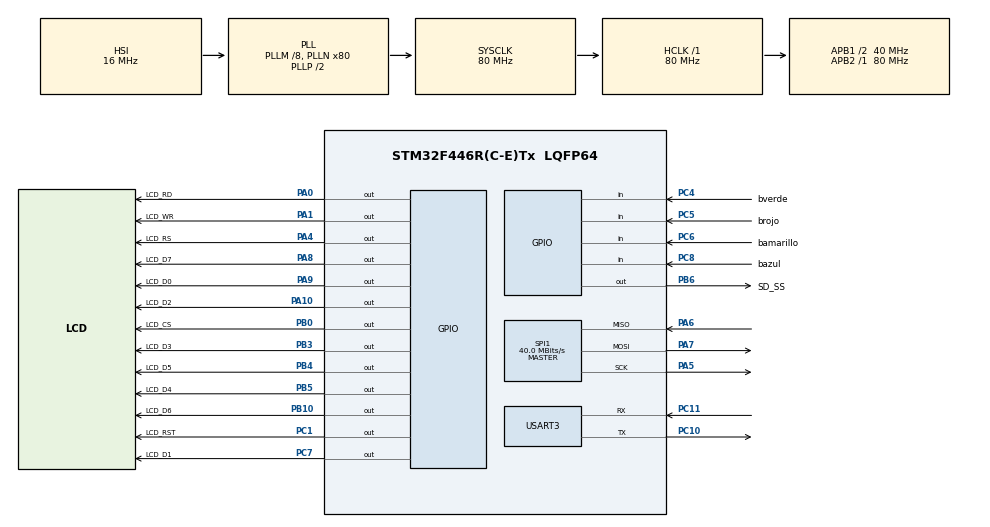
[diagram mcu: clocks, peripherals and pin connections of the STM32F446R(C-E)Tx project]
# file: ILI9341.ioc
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Mcu.Family=STM32F4
Mcu.Name=STM32F446R(C-E)Tx
Mcu.Package=LQFP64
NVIC.PriorityGroup=NVIC_PRIORITYGROUP_4
NVIC.USART3_IRQn=true\:0\:0\:false\:false\:true\:true\:true\:true
PA0-WKUP.GPIO_Label=LCD_RD
PA0-WKUP.GPIO_Speed=GPIO_SPEED_FREQ_HIGH
PA0-WKUP.Signal=GPIO_Output
PA1.GPIO_Label=LCD_WR
PA1.GPIO_Speed=GPIO_SPEED_FREQ_HIGH
PA1.Signal=GPIO_Output
PA10.GPIO_Label=LCD_D2
PA10.GPIO_Speed=GPIO_SPEED_FREQ_HIGH
PA10.Signal=GPIO_Output
PA13.Mode=Serial_Wire
PA13.Signal=SYS_JTMS-SWDIO
PA14.Mode=Serial_Wire
PA14.Signal=SYS_JTCK-SWCLK
PA4.GPIO_Label=LCD_RS
PA4.GPIO_Speed=GPIO_SPEED_FREQ_HIGH
PA4.Signal=GPIO_Output
PA5.Mode=Full_Duplex_Master
PA5.Signal=SPI1_SCK
PA6.Mode=Full_Duplex_Master
PA6.Signal=SPI1_MISO
PA7.Mode=Full_Duplex_Master
PA7.Signal=SPI1_MOSI
PA8.GPIO_Label=LCD_D7
PA8.GPIO_Speed=GPIO_SPEED_FREQ_HIGH
PA8.Signal=GPIO_Output
PA9.GPIO_Label=LCD_D0
PA9.GPIO_Speed=GPIO_SPEED_FREQ_HIGH
PA9.Signal=GPIO_Output
PB0.GPIO_Label=LCD_CS
PB0.GPIO_Speed=GPIO_SPEED_FREQ_HIGH
PB0.Signal=GPIO_Output
PB10.GPIO_Label=LCD_D6
PB10.GPIO_Speed=GPIO_SPEED_FREQ_HIGH
PB10.Signal=GPIO_Output
PB3.GPIO_Label=LCD_D3
PB3.GPIO_Speed=GPIO_SPEED_FREQ_HIGH
PB3.Signal=GPIO_Output
PB4.GPIO_Label=LCD_D5
PB4.GPIO_Speed=GPIO_SPEED_FREQ_HIGH
PB4.Signal=GPIO_Output
PB5.GPIO_Label=LCD_D4
PB5.GPIO_Speed=GPIO_SPEED_FREQ_HIGH
PB5.Signal=GPIO_Output
PB6.GPIO_Label=SD_SS
PB6.GPIO_Speed=GPIO_SPEED_FREQ_HIGH
PB6.Signal=GPIO_Output
PC1.GPIO_Label=LCD_RST
PC1.GPIO_Speed=GPIO_SPEED_FREQ_HIGH
PC1.Signal=GPIO_Output
PC10.Mode=Asynchronous
PC10.Signal=USART3_TX
PC11.Mode=Asynchronous
PC11.Signal=USART3_RX
PC4.GPIO_Label=bverde
PC4.GPIO_PuPd=GPIO_PULLUP
PC4.Signal=GPIO_Input
PC5.GPIO_Label=brojo
PC5.GPIO_PuPd=GPIO_PULLUP
PC5.Signal=GPIO_Input
PC6.GPIO_Label=bamarillo
PC6.GPIO_PuPd=GPIO_PULLUP
PC6.Signal=GPIO_Input
PC7.GPIO_Label=LCD_D1
PC7.GPIO_Speed=GPIO_SPEED_FREQ_HIGH
PC7.Signal=GPIO_Output
PC8.GPIO_Label=bazul
PC8.GPIO_PuPd=GPIO_PULLUP
PC8.Signal=GPIO_Input
PH0-OSC_IN.Mode=HSE-External-Oscillator
PH0-OSC_IN.Signal=RCC_OSC_IN
PH1-OSC_OUT.Mode=HSE-External-Oscillator
PH1-OSC_OUT.Signal=RCC_OSC_OUT
ProjectManager.HeapSize=0x200
ProjectManager.StackSize=0x400
ProjectManager.TargetToolchain=STM32CubeIDE
RCC.AHBFreq_Value=80000000
RCC.APB1CLKDivider=RCC_HCLK_DIV2
RCC.APB1Freq_Value=40000000
RCC.APB1TimFreq_Value=80000000
RCC.APB2Freq_Value=80000000
RCC.APB2TimFreq_Value=80000000
RCC.CortexFreq_Value=80000000
RCC.HCLKFreq_Value=80000000
RCC.PLLM=8
RCC.PLLN=80
RCC.SYSCLKFreq_VALUE=80000000
RCC.SYSCLKSource=RCC_SYSCLKSOURCE_PLLCLK
RCC.USBFreq_Value=80000000
RCC.VCOOutputFreq_Value=160000000
SPI1.CalculateBaudRate=40.0 MBits/s
SPI1.Direction=SPI_DIRECTION_2LINES
SPI1.Mode=SPI_MODE_MASTER
SPI1.VirtualType=VM_MASTER
USART3.VirtualMode=VM_ASYNC
board=custom

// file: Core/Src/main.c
/* USER CODE BEGIN Header */
/**
 ******************************************************************************
 * @file           : main.c
 * @brief          : Main program body
 ******************************************************************************
 * @attention
 *
 * Copyright (c) 2024 STMicroelectronics.
 * All rights reserved.
 *
 * This software is licensed under terms that can be found in the LICENSE file
 * in the root directory of this software component.
 * If no LICENSE file comes with this software, it is provided AS-IS.
 *
 ******************************************************************************
 */
/* USER CODE END Header */
#include "main.h"

/* USER CODE BEGIN Includes */
#include "ili9341.h"
#include "Bitmaps.h"
#include "gh_sprites.h"   // [GH] sprites de botones y notas (en RAM)
#include "gh_notas.h"     // [GH] dibujo de botones y movimiento de notas

// Para el uart3
#include <stdio.h>
#include <string.h>
#include <stdbool.h>      // Necesario para usar 'bool'
/* USER CODE END Includes */

/* USER CODE BEGIN PD */
/* [GH] Parámetros de la demo de notas cayendo */
#define GH_MAX_NOTAS        8
#define GH_PERIODO_CUADRO   16   /* ms mínimos por cuadro (~60 fps máx.) */
#define GH_VELOCIDAD        4    /* px que baja cada nota por cuadro */
#define GH_CUADROS_ENTRE_NOTAS 22 /* cuadros entre notas nuevas (22*4 = 88 px de separación) */

//Comentario de prueba para el GIt

// Este define lo tengo que cambiar o eliminar ya que la presion sera dictada por el tiempo del boton

//#define GH_TIEMPO_PRESION   120  /* ms que el botón queda encendido al llegar la nota */

/* USER CODE END PD */

SPI_HandleTypeDef hspi1;

UART_HandleTypeDef huart3;

/* USER CODE BEGIN PV */

volatile uint8_t rx_byte;
char rx_buffer[30];
volatile uint8_t rx_index = 0;
volatile uint8_t comando_listo = 0;

/* Botones virtuales del Jugador 1 controlados desde el ESP32 */
volatile uint8_t p1_btn_verde = 0;    // Asignado al botón A
volatile uint8_t p1_btn_rojo = 0;     // Asignado al botón B
volatile uint8_t p1_btn_amarillo = 0; // Asignado al botón X
volatile uint8_t p1_btn_azul = 0;     // Asignado al botón Y

extern uint16_t fondo[];

/* [GH] Estado de la demo */
static GH_Nota notas[GH_MAX_NOTAS];

/* Patrón de la demo: {carril, largo de cola en px (0 = nota normal)} */
static const struct { uint8_t carril; int16_t largo; } patron[] = {
	{0, 0}, {1, 0}, {2, 120}, {3, 0}, {1, 0}, {0, 80}, {3, 0}, {2, 0}, {1, 160}, {3, 0}, {0, 0}, {3, 100},
};

/* USER CODE END PV */

void SystemClock_Config(void);
static void MX_GPIO_Init(void);
static void MX_SPI1_Init(void);
static void MX_USART3_UART_Init(void);

/* USER CODE BEGIN 0 */
// Lógica de traducción de comandos UART a Botones Virtuales
void ProcesarComandoESP32(char* comando) {
    bool presionado = true;

    /* Detectar si se soltó el botón */
    if (strstr(comando, "_off") != NULL) {
        presionado = false;
    }

    /* Asignar a variables si el comando es para el Jugador 1 (p1_) */
    if (strncmp(comando, "p1_", 3) == 0) {
        if (strstr(comando, "A") != NULL && !strstr(comando, "Down")) {
            p1_btn_verde = presionado;
        }
        else if (strstr(comando, "B") != NULL) {
            p1_btn_rojo = presionado;
        }
        else if (strstr(comando, "X") != NULL) {
            p1_btn_amarillo = presionado;
        }
        else if (strstr(comando, "Y") != NULL) {
            p1_btn_azul = presionado;
        }
    }
}

/* [GH] Un paso de la demo: genera notas y lee botones VIRTUALES */
static void GH_DemoPaso(void) {
	static uint32_t tCuadro = 0;
	static uint16_t cuadrosDesdeNota = 0;
	static uint16_t cuadrosEspera = 0;
	static uint8_t iPatron = 0;

	static uint8_t estadoVisualBoton[GH_NUM_CARRILES] = {GH_BTN_REPOSO, GH_BTN_REPOSO, GH_BTN_REPOSO, GH_BTN_REPOSO};
	static uint8_t estadoVisualCola[GH_NUM_CARRILES]  = {0, 0, 0, 0};

	uint32_t ahora = HAL_GetTick();
	if (ahora - tCuadro < GH_PERIODO_CUADRO) return;
	tCuadro = ahora;

	if (++cuadrosDesdeNota >= cuadrosEspera) {
		for (int i = 0; i < GH_MAX_NOTAS; i++) {
			if (!notas[i].activa) {
				GH_NotaLargaIniciar(&notas[i], patron[iPatron].carril, patron[iPatron].largo);
				cuadrosEspera = GH_CUADROS_ENTRE_NOTAS + patron[iPatron].largo / GH_VELOCIDAD;
				iPatron = (iPatron + 1) % (sizeof(patron) / sizeof(patron[0]));
				cuadrosDesdeNota = 0;
				break;
			}
		}
	}

	/* LEER BOTONES VIRTUALES DEL ESP32 EN LUGAR DE LOS PINES FÍSICOS */
	uint8_t btnVirtuales[GH_NUM_CARRILES];
	btnVirtuales[0] = p1_btn_verde;
	btnVirtuales[1] = p1_btn_rojo;
	btnVirtuales[2] = p1_btn_amarillo;
	btnVirtuales[3] = p1_btn_azul;

	GH_Nota* colaActiva[GH_NUM_CARRILES] = {NULL, NULL, NULL, NULL};

	for (int i = 0; i < GH_MAX_NOTAS; i++) {
		if (!notas[i].activa) continue;

		uint8_t c = notas[i].carril;
		GH_NotaMover(&notas[i], GH_VELOCIDAD);

		/* LÓGICA DE ACIERTO */
		if (notas[i].y >= GH_BOTON_Y - 15 && notas[i].y <= GH_BOTON_Y + 20) {
			if (btnVirtuales[c]) {
				if (notas[i].largo == 0) {
					notas[i].activa = 0;
					GH_RestaurarFondo(GH_CARRIL_X(c), notas[i].y - GH_SPR_H, GH_SPR_W, GH_SPR_H * 2);
					continue;
				} else if (!notas[i].atrapada) {
					int16_t old_y = notas[i].y;
					notas[i].atrapada = 1;
					notas[i].y = GH_BOTON_Y;
					notas[i].largo += (GH_BOTON_Y - old_y);
					if (notas[i].largo < 0) notas[i].largo = 0;
					notas[i].cabezaLlego = 1;
					GH_RestaurarFondo(GH_CARRIL_X(c), old_y - GH_SPR_H, GH_SPR_W, GH_SPR_H * 2);
				}
			}
		}

		/* Sostenimiento de nota larga */
		if (notas[i].activa && notas[i].largo > 0 && notas[i].cabezaLlego) {
			if (notas[i].atrapada) {
				if (btnVirtuales[c]) {
					colaActiva[c] = &notas[i];
				} else {
					notas[i].atrapada = 0;
				}
			} else {
				if (notas[i].y >= GH_BOTON_Y && notas[i].y <= GH_BOTON_Y + 20) {
					if (btnVirtuales[c]) {
						int16_t old_y = notas[i].y;
						notas[i].atrapada = 1;
						notas[i].y = GH_BOTON_Y;
						notas[i].largo += (GH_BOTON_Y - old_y);
						if (notas[i].largo < 0) notas[i].largo = 0;
						colaActiva[c] = &notas[i];
						GH_RestaurarFondo(GH_CARRIL_X(c), old_y - GH_SPR_H, GH_SPR_W, GH_SPR_H * 2);
					}
				}
			}
		}
	}

	/* DIBUJAR EN PANTALLA */
	for (uint8_t c = 0; c < GH_NUM_CARRILES; c++) {
		uint8_t nuevoEstadoBoton = GH_BTN_REPOSO;
		uint8_t nuevoEstadoCola = 0;

		if (btnVirtuales[c]) {
			if (colaActiva[c] != NULL) {
				nuevoEstadoBoton = GH_BTN_SOSTENIDO;
				nuevoEstadoCola = 1;
			} else {
				nuevoEstadoBoton = GH_BTN_PRESIONADO;
			}
		}

		if (nuevoEstadoBoton != estadoVisualBoton[c]) {
			GH_DibujarBoton(c, nuevoEstadoBoton);
			estadoVisualBoton[c] = nuevoEstadoBoton;
		}

		if (colaActiva[c] != NULL) {
			if (nuevoEstadoCola != estadoVisualCola[c]) {
				GH_ColaRedibujar(colaActiva[c], nuevoEstadoCola);
				estadoVisualCola[c] = nuevoEstadoCola;
			}
		} else {
			estadoVisualCola[c] = 0;
		}
	}
}
/* USER CODE END 0 */

int main(void)
{
	HAL_Init();
	  SystemClock_Config();
	  MX_GPIO_Init();
	  MX_USART3_UART_Init();

  /* MCU Configuration--------------------------------------------------------*/

  /* Reset of all peripherals, Initializes the Flash interface and the Systick. */
  HAL_Init();

  /* Configure the system clock */
  SystemClock_Config();

  /* Initialize all configured peripherals */
  MX_GPIO_Init();
  MX_SPI1_Init();
  MX_USART3_UART_Init();
  /* USER CODE BEGIN 2 */

  // Iniciar la escucha del ESP32 por interrupción
    HAL_UART_Receive_IT(&huart3, (uint8_t*)&rx_byte, 1);

	LCD_Init();

	LCD_Clear(0x00);
	//FillRect(unsigned int x, unsigned int y, unsigned int w, unsigned int h, unsigned int c);
	//FillRect(0, 0, 319, 239, 0x0DFE);
	//FillRect(0, 0, 319, 239, 0x4c9d);

//	FillRect(50, 60, 20, 20, 0xF800);
//
//	FillRect(70, 60, 20, 20, 0x07E0);
//
//	FillRect(90, 60, 20, 20, 0x001F);

	//LCD_Bitmap(unsigned int x, unsigned int y, unsigned int width, unsigned int height, unsigned char bitmap[]);
	//LCD_Bitmap(100, 100, 49, 36, dkong);
	//LCD_Bitmap(100, 100, 24, 30, sonic);

	// [GH] Demo anterior en horizontal (320x240), desactivada al pasar a vertical:
	//LCD_Bitmap(0, 0, 320, 240, fondoPinguin);
	//LCD_BitmapTransparent(100, 100, 49, 36, dkong, 0x4b7e);
	//LCD_BitmapTransparent(50, 60,32,32,megaman,0x03ba);

	// [GH] Fondo negro (LCD_Clear(0x00) de arriba) + fila de botones en reposo
	GH_DibujarBotones();
	//LCD_Bitmap(132, 100, 32, 32, megaman);

//	FillRect(0, 0, 319, 206, 0x055b);
//	LCD_Print("Hola Mundo", 20, 150, 2, 0x001F, 0x055b);
//
//
//for (int x = 0; x < 319; x++) {
//			LCD_Bitmap(x, 116, 15, 15, tile);
//			LCD_Bitmap(x, 68, 15, 15, tile);
//			LCD_Bitmap(x, 207, 15, 15, tile);
//			LCD_Bitmap(x, 223, 15, 15, tile);
//			x += 14;
//		}

	//LCD_BitmapTransparent(100, 116-36, 49, 36, dkong, 0x4b7e);
	//LCD_Sprite(int x, int y, int width, int height, unsigned char bitmap[], int columns, int index, char flip, char offset);

	//LCD_Sprite(100, 116-29, 42, 29, link, 4, 0, 0, 0);

	//  LCD_Print("Hola Mundo", 20, 100, 1, 0x001F, 0xCAB9);

  /* USER CODE END 2 */

  /* Infinite loop */
  /* USER CODE BEGIN WHILE */
	while (1) {

		if (comando_listo) {
		        comando_listo = 0;
		        ProcesarComandoESP32(rx_buffer);
		    }

		GH_DemoPaso();   // [GH] notas cayendo

    /* USER CODE END WHILE */

    /* USER CODE BEGIN 3 */

//
//				for (int x = 0; x < 319-42; x++) {
//					int anim = (x/10)%4;
//					// anim 0 1 2 3
//					LCD_Sprite(x, 116-29, 42, 29, link, 4, anim, 0, 0);
//					//V_line( x -1, 100, 50, 0x0DFE);
//					HAL_Delay(15);
//
//				}
//				for (int var = 319-24; var > 0;  var--) {
//					int anim = (var / 10) % 4;
//					LCD_Sprite(var, 100, 24, 30, sonics, 4, anim, 1, 0);
//					V_line(var + 24, 100, 30, 0x0DFE);
//					HAL_Delay(15);
//				}
//
//		for (int x = 0; x < 319-24; x++) {
//			int anim = (x/10)%4;
//			// anim 0 1 2 3
//			LCD_Sprite(x, 100, 24, 30, sonics, 4, anim, 0, 0);
//			V_line( x -1, 100, 30, 0x0DFE);
//			HAL_Delay(15);
//
//		}
//		for (int var = 319-24; var > 0;  var--) {
//			int anim = (var / 10) % 4;
//			LCD_Sprite(var, 100, 24, 30, sonics, 4, anim, 1, 0);
//			V_line(var + 24, 100, 30, 0x0DFE);
//			HAL_Delay(15);
//		}

//		for (int var = 0; var < 319-26;  var++) {
//			 int anim = (var / 5) % 4;
//			LCD_Sprite(var,100,26,16,link,4,anim,0,0);
//			V_line( var -1, 100, 16, 0x4d9e);
//			 HAL_Delay(15);
//		}
//		for (int var = 319-26; var > 0;  var--) {
//					 int anim = (var / 5) % 4;
//					LCD_Sprite(var,100,26,16,link,4,anim,1,0);
//					V_line( var +27, 100, 16, 0x4d9e);
//					 HAL_Delay(15);
//				}
//
//		for (int x = 0; x < 320 - 16; x++) {
//		    int anim2 = (x / 10) % 4;
//		    LCD_Sprite(x,100,16,16,kirbys,4,anim2,0,0);
//		    V_line( x -1, 100, 16, 0x74DA);
//		    HAL_Delay(15);
//		  }
//		  for (int x = 320-16; x > 0; x--) {
//		    int anim2 = (x / 10) % 4;
//		    LCD_Sprite(x,100,16,16,kirbys,4,anim2,1,0);
//		    V_line( x +16, 100, 16, 0x74DA);
//		    HAL_Delay(15);
//		  }

	}
  /* USER CODE END 3 */
}

void SystemClock_Config(void)
{
  RCC_OscInitTypeDef RCC_OscInitStruct = {0};
  RCC_ClkInitTypeDef RCC_ClkInitStruct = {0};

  /** Configure the main internal regulator output voltage
  */
  __HAL_RCC_PWR_CLK_ENABLE();
  __HAL_PWR_VOLTAGESCALING_CONFIG(PWR_REGULATOR_VOLTAGE_SCALE3);

  /** Initializes the RCC Oscillators according to the specified parameters
  * in the RCC_OscInitTypeDef structure.
  */
  RCC_OscInitStruct.OscillatorType = RCC_OSCILLATORTYPE_HSI;
  RCC_OscInitStruct.HSIState = RCC_HSI_ON;
  RCC_OscInitStruct.HSICalibrationValue = RCC_HSICALIBRATION_DEFAULT;
  RCC_OscInitStruct.PLL.PLLState = RCC_PLL_ON;
  RCC_OscInitStruct.PLL.PLLSource = RCC_PLLSOURCE_HSI;
  RCC_OscInitStruct.PLL.PLLM = 8;
  RCC_OscInitStruct.PLL.PLLN = 80;
  RCC_OscInitStruct.PLL.PLLP = RCC_PLLP_DIV2;
  RCC_OscInitStruct.PLL.PLLQ = 2;
  RCC_OscInitStruct.PLL.PLLR = 2;
  if (HAL_RCC_OscConfig(&RCC_OscInitStruct) != HAL_OK)
  {
    Error_Handler();
  }

  /** Initializes the CPU, AHB and APB buses clocks
  */
  RCC_ClkInitStruct.ClockType = RCC_CLOCKTYPE_HCLK|RCC_CLOCKTYPE_SYSCLK
                              |RCC_CLOCKTYPE_PCLK1|RCC_CLOCKTYPE_PCLK2;
  RCC_ClkInitStruct.SYSCLKSource = RCC_SYSCLKSOURCE_PLLCLK;
  RCC_ClkInitStruct.AHBCLKDivider = RCC_SYSCLK_DIV1;
  RCC_ClkInitStruct.APB1CLKDivider = RCC_HCLK_DIV2;
  RCC_ClkInitStruct.APB2CLKDivider = RCC_HCLK_DIV1;

  if (HAL_RCC_ClockConfig(&RCC_ClkInitStruct, FLASH_LATENCY_2) != HAL_OK)
  {
    Error_Handler();
  }
}

static void MX_SPI1_Init(void)
{

  /* SPI1 parameter configuration*/
  hspi1.Instance = SPI1;
  hspi1.Init.Mode = SPI_MODE_MASTER;
  hspi1.Init.Direction = SPI_DIRECTION_2LINES;
  hspi1.Init.DataSize = SPI_DATASIZE_8BIT;
  hspi1.Init.CLKPolarity = SPI_POLARITY_LOW;
  hspi1.Init.CLKPhase = SPI_PHASE_1EDGE;
  hspi1.Init.NSS = SPI_NSS_SOFT;
  hspi1.Init.BaudRatePrescaler = SPI_BAUDRATEPRESCALER_2;
  hspi1.Init.FirstBit = SPI_FIRSTBIT_MSB;
  hspi1.Init.TIMode = SPI_TIMODE_DISABLE;
  hspi1.Init.CRCCalculation = SPI_CRCCALCULATION_DISABLE;
  hspi1.Init.CRCPolynomial = 10;
  if (HAL_SPI_Init(&hspi1) != HAL_OK)
  {
    Error_Handler();
  }

}

static void MX_USART3_UART_Init(void)
{

  huart3.Instance = USART3;
  huart3.Init.BaudRate = 115200;
  huart3.Init.WordLength = UART_WORDLENGTH_8B;
  huart3.Init.StopBits = UART_STOPBITS_1;
  huart3.Init.Parity = UART_PARITY_NONE;
  huart3.Init.Mode = UART_MODE_TX_RX;
  huart3.Init.HwFlowCtl = UART_HWCONTROL_NONE;
  huart3.Init.OverSampling = UART_OVERSAMPLING_16;
  if (HAL_UART_Init(&huart3) != HAL_OK)
  {
    Error_Handler();
  }

}

static void MX_GPIO_Init(void)
{
  GPIO_InitTypeDef GPIO_InitStruct = {0};

  /* GPIO Ports Clock Enable */
  __HAL_RCC_GPIOH_CLK_ENABLE();
  __HAL_RCC_GPIOC_CLK_ENABLE();
  __HAL_RCC_GPIOA_CLK_ENABLE();
  __HAL_RCC_GPIOB_CLK_ENABLE();

  /*Configure GPIO pin Output Level */
  HAL_GPIO_WritePin(GPIOC, LCD_RST_Pin|LCD_D1_Pin, GPIO_PIN_RESET);

  /*Configure GPIO pin Output Level */
  HAL_GPIO_WritePin(GPIOA, LCD_RD_Pin|LCD_WR_Pin|LCD_RS_Pin|LCD_D7_Pin
                          |LCD_D0_Pin|LCD_D2_Pin, GPIO_PIN_RESET);

  /*Configure GPIO pin Output Level */
  HAL_GPIO_WritePin(GPIOB, LCD_CS_Pin|LCD_D6_Pin|LCD_D3_Pin|LCD_D5_Pin
                          |LCD_D4_Pin|SD_SS_Pin, GPIO_PIN_RESET);

  /*Configure GPIO pins : LCD_RST_Pin LCD_D1_Pin */
  GPIO_InitStruct.Pin = LCD_RST_Pin|LCD_D1_Pin;
  GPIO_InitStruct.Mode = GPIO_MODE_OUTPUT_PP;
  GPIO_InitStruct.Pull = GPIO_NOPULL;
  GPIO_InitStruct.Speed = GPIO_SPEED_FREQ_HIGH;
  HAL_GPIO_Init(GPIOC, &GPIO_InitStruct);

  /*Configure GPIO pins : LCD_RD_Pin LCD_WR_Pin LCD_RS_Pin LCD_D7_Pin
                           LCD_D0_Pin LCD_D2_Pin */
  GPIO_InitStruct.Pin = LCD_RD_Pin|LCD_WR_Pin|LCD_RS_Pin|LCD_D7_Pin
                          |LCD_D0_Pin|LCD_D2_Pin;
  GPIO_InitStruct.Mode = GPIO_MODE_OUTPUT_PP;
  GPIO_InitStruct.Pull = GPIO_NOPULL;
  GPIO_InitStruct.Speed = GPIO_SPEED_FREQ_HIGH;
  HAL_GPIO_Init(GPIOA, &GPIO_InitStruct);

  /*Configure GPIO pins : bverde_Pin brojo_Pin bamarillo_Pin bazul_Pin */
  GPIO_InitStruct.Pin = bverde_Pin|brojo_Pin|bamarillo_Pin|bazul_Pin;
  GPIO_InitStruct.Mode = GPIO_MODE_INPUT;
  GPIO_InitStruct.Pull = GPIO_PULLUP;
  HAL_GPIO_Init(GPIOC, &GPIO_InitStruct);

  /*Configure GPIO pins : LCD_CS_Pin LCD_D6_Pin LCD_D3_Pin LCD_D5_Pin
                           LCD_D4_Pin SD_SS_Pin */
  GPIO_InitStruct.Pin = LCD_CS_Pin|LCD_D6_Pin|LCD_D3_Pin|LCD_D5_Pin
                          |LCD_D4_Pin|SD_SS_Pin;
  GPIO_InitStruct.Mode = GPIO_MODE_OUTPUT_PP;
  GPIO_InitStruct.Pull = GPIO_NOPULL;
  GPIO_InitStruct.Speed = GPIO_SPEED_FREQ_HIGH;
  HAL_GPIO_Init(GPIOB, &GPIO_InitStruct);

}

/* USER CODE BEGIN 4 */

void HAL_UART_RxCpltCallback(UART_HandleTypeDef *huart) {
    if (huart->Instance == USART3) {
        if (rx_byte == '\n') {
            rx_buffer[rx_index] = '\0'; // Terminar la cadena
            comando_listo = 1;          // Avisar al while(1) que el comando llegó completo
            rx_index = 0;               // Reiniciar el índice
        }
        else if (rx_byte != '\r' && rx_index < sizeof(rx_buffer) - 1) {
            rx_buffer[rx_index++] = rx_byte;
        }
        // Re-armar la interrupción para escuchar el próximo byte
        HAL_UART_Receive_IT(&huart3, (uint8_t*)&rx_byte, 1);
    }
}
/* USER CODE END 4 */

void Error_Handler(void)
{
	__disable_irq();
	while (1) {
	}
}
